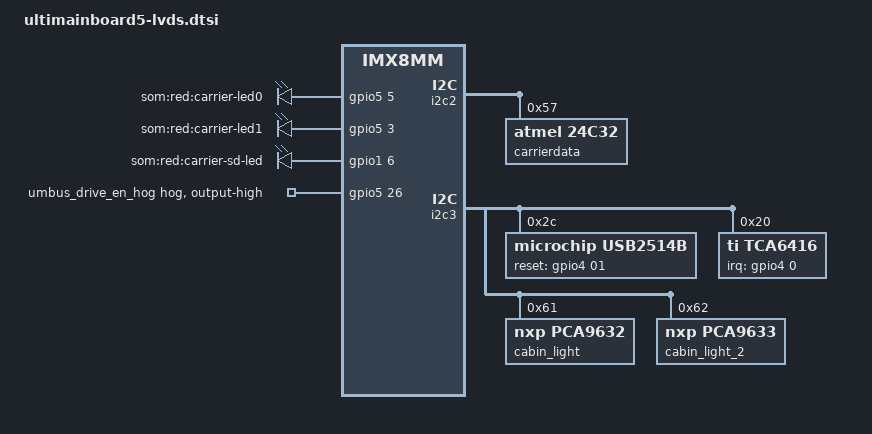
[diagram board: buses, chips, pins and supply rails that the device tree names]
/*
 * Copyright (C) 2020 - Ultimaker B.V.
 * Copyright (C) 2020 - Raymond Siudak <raysiudak@gmail.com>
*/

/dts-v1/;

#include "congatec/imx8mm-cgtsx8m-lvds.dtsi"

/* We do not use the Video Processing Units, so let's disable them.
   That prevents multiple enumeration of /dev/videoX devices for
   the camera */
&vpu_g1 {
    status = "disabled";
};

&vpu_g2 {
    status = "disabled";
};

&vpu_h1 {
    status = "disabled";
};

&vpu_v4l2 {
    status = "disabled";
};


/* Remove pins used in Ultiboard 5 from generic GPIOs pinctrl settings of imx8mm. */
&pinctrl_gpio1 {
    fsl,pins = <
        MX8MM_IOMUXC_GPIO1_IO07_GPIO1_IO7       0x140 /* GPIO0 / CSI0 PWR */
        MX8MM_IOMUXC_GPIO1_IO15_GPIO1_IO15      0x140 /* TEST# */
        MX8MM_IOMUXC_SAI1_RXD0_GPIO4_IO2		0x140 /* GPIO12 */
		MX8MM_IOMUXC_SAI1_RXD1_GPIO4_IO3		0x140 /* GPIO13 */        
    >;
};

&pinctrl_gpio4 {
    fsl,pins = <
        MX8MM_IOMUXC_SAI3_RXC_GPIO4_IO29        0x080 /* GPIO4 / SAFETY_ENABLED (input) */
        MX8MM_IOMUXC_SAI3_RXFS_GPIO4_IO28       0x080 /* GPIO6 / SOM_BOOT (IMXRT BootMode Enable) */
        MX8MM_IOMUXC_SAI1_RXC_GPIO4_IO1         0x140 /* GPIO7 / USB RESET_HUB# */
        MX8MM_IOMUXC_SAI1_TXC_GPIO4_IO11        0x140 /* GPIO9 */
        MX8MM_IOMUXC_SAI1_TXFS_GPIO4_IO10       0x100 /* GPIO10 / U12 EEPROM WRITE PROTECT */
        MX8MM_IOMUXC_SAI1_MCLK_GPIO4_IO20       0x080 /* GPIO11 / SOM_nRST (IMXRT_nReset) */
        MX8MM_IOMUXC_SAI1_TXD3_GPIO4_IO15       0x140 /* PM_CHARGING# */
        MX8MM_IOMUXC_SAI1_TXD2_GPIO4_IO14       0x140 /* PM_CHARGER_PRSNT# */
        MX8MM_IOMUXC_SAI1_TXD4_GPIO4_IO16       0x140 /* BOOT_SEL0# */
        MX8MM_IOMUXC_SAI1_TXD5_GPIO4_IO17       0x140 /* BOOT_SEL1# */
        MX8MM_IOMUXC_SAI1_TXD6_GPIO4_IO18       0x140 /* BOOT_SEL2# */
        MX8MM_IOMUXC_SAI1_RXD5_GPIO4_IO7        0x080 /* SAI1_RXD5 -> RESET_OUT# / IMXRT nReset */
    >;
};

/* SEM-503: We need to connect the IMX8MM pad UART3_RXD and UART3_TXD to the GPIO5 controller,
   removing them from the UART1 controller. So we need to re-define these pin control groups 
   here, since it is not possible to delete a pin from a fsl,pin array */
   
&pinctrl_gpio5 {
    fsl,pins = <
        MX8MM_IOMUXC_SPDIF_RX_GPIO5_IO4         0x140 /* GPIO5 / PWMOUT */
        MX8MM_IOMUXC_UART3_RXD_GPIO5_IO26       0x140 /* SER2_RTS# - Used for UMBus Drive Enable */
        MX8MM_IOMUXC_UART3_TXD_GPIO5_IO27       0x140 /* SER2_CTS */
    >;
};

&pinctrl_uart1 {
    fsl,pins = <
        MX8MM_IOMUXC_UART1_RXD_UART1_DCE_RX	    0x140 /* Added by ticket SEM-503 */
        MX8MM_IOMUXC_UART1_TXD_UART1_DCE_TX	    0x140 /* Added by ticket SEM-503 */
    >;
};

&pinctrl_uart1_sleep {
    fsl,pins = <
        MX8MM_IOMUXC_UART1_RXD_GPIO5_IO22	    0x100 /* Added by ticket SEM-503 */
        MX8MM_IOMUXC_UART1_TXD_GPIO5_IO23	    0x100 /* Added by ticket SEM-503 */
    >;
};

    
/* Add GPIOs pinctrl for Ultboard 5. */

/* GPIO PAD setting */
/* 0x1C0 -- pull-up,   HYST, no-OD, slow, X1 */
/* 0x140 -- pull-up,   CMOS, no-OD, slow, X1 */
/* 0x100 -- pull-down, CMOS, no-OD, slow, X1 */
/* 0x080 -- pull-off,  HYST, no-OD, slow, X1 */
/* 0x000 -- pull-off,  CMOS, no-OD, slow, X1 */

&iomuxc {
    pinctrl_leds_1: ledsgrp-1 {
        fsl,pins = <
            MX8MM_IOMUXC_SPDIF_TX_GPIO5_IO3         0x100 /* GPIO1 / CSI1 PWR / Led-1 Error */
            MX8MM_IOMUXC_GPIO1_IO06_GPIO1_IO6       0x100 /* GPIO2 / CSI0 RST / SD-LED */
            MX8MM_IOMUXC_SPDIF_EXT_CLK_GPIO5_IO5    0x100 /* GPIO3 / CSI1 RST / Led-0 Kernel Heartbeat */
        >;
    };
    
    pinctrl_i2c3_tca6416: i2c3_tca6416 {
        fsl,pins = <
            MX8MM_IOMUXC_SAI1_RXFS_GPIO4_IO0        0x080 /* GPIO8 / U35 - TCA6416 INT */  
        >;
    };
};

&i2c2 {
    /* Carrier data EEPROM (U12) */
    carrierdata@57 {
        compatible = "atmel,24c32";
        reg = <0x57>;
        pagesize = <32>;
    };
};

&i2c3 {
/* CES-3178: The S6 camera appears to have power-up issues when the board is powered on with the camera connected.
   This was addressed in hardware (see ELS-458), but it introduced a worse side effect: the S8 camera now causes
   the i.MX8 USB Host Controller to freeze during boot (see ELS-462).

   The root cause appears to be the time the S8 camera takes to power up. The Microchip USB2514B hub, when operating
   in standalone mode (not configured via I2C), uses a default POWER-ON TIME of 100 ms. This is the delay the hub
   waits before attempting to enumerate devices after enabling power to the port via the PRTPWR pins. For the S8 camera,
   100 ms does not seem sufficient for it to be fully ready for enumeration, leading to failures.

   Connecting the USB2514B to the I2C bus and increasing the POWER-ON TIME to 110 ms resolves the issue. In this configuration,
   we set it to 200 ms to be on the safe side.
*/
   
    usb2514b@2c {
        compatible = "microchip,usb2514b";
        reg = <0x2c>;
        reset-gpios = <&gpio4 01 GPIO_ACTIVE_HIGH>;
        self-powered;
        individual-sensing;
        individual-port-switching;
        power-on-time-ms = <200>;
    };
    
    tca6416@20 {
        compatible = "ti,tca6416";
        reg = <0x20>;
        pinctrl-names = "default";
        pinctrl-0 = <&pinctrl_i2c3_tca6416>;
        interrupt-parent = <&gpio4>;
        interrupts = <0 IRQ_TYPE_LEVEL_LOW>;
        gpio-controller;
        #gpio-cells = <2>;
        gpio-line-names = "VCC5_EXT_EN", "VCC5_EXT_OK", "VCC5_FAN_EN", "VCC5_FAN_OK", 
                          "HDMI_PWR_EN", "HDMI_PWR_OK", "VCC5_PH_EN", "VCC5_PH_OK", 
                          "VCC24_HP_PG", "VCC24_MOT_PG", "LVDS_PWR_EN", "LVDS_PWR_OK", 
                          "SAFETY_BTN_STATUS", "SAFETY_RESET", "VCC24_PH_EN", "VCC24_MOT_EN";
    };
    
    cabin_light: pca9632@61 {
        compatible = "nxp,pca9632";
        #address-cells = <1>;
        #size-cells = <0>;
        reg = <0x61>;
        nxp,totem-pole;
        nxp,inverted-out;
        nxp,hw-blink;
        white4@0 {
            label = "white4:cabin_light";
            reg = <0>;
            linux,default-trigger = "default-on";
        };
        white3@1 {
            label = "white3:cabin_light";
            reg = <1>;
            linux,default-trigger = "default-on";
        };
        white2@2 {
            label = "white2:cabin_light";
            reg = <2>;
            linux,default-trigger = "default-on";
        };
        white@3 {
            label = "white:cabin_light";
            reg = <3>;
            linux,default-trigger = "default-on";
        };
    };

    cabin_light_2: pca9633@62 {
        compatible = "nxp,pca9633";
        #address-cells = <1>;
        #size-cells = <0>;
        reg = <0x62>;
        nxp,totem-pole;
        nxp,inverted-out;
        nxp,hw-blink;
        white4@0 {
            label = "white4:cabin_light";
            reg = <0>;
            linux,default-trigger = "default-on";
        };
        white3@1 {
            label = "white3:cabin_light";
            reg = <1>;
            linux,default-trigger = "default-on";
        };
        white2@2 {
            label = "white2:cabin_light";
            reg = <2>;
            linux,default-trigger = "default-on";
        };
        white@3 {
            label = "white:cabin_light";
            reg = <3>;
            linux,default-trigger = "default-on";
        };
    };
};

/* Set pin names for IMXRT control lines */
&gpio4 {
    gpio-line-names = "TCA6416A_nINT", "USB2514B_Reset", "", "", "", "", "", "RESET_OUT", 
                      "", "", "", "", "", "", "", "", 
                      "", "", "", "", "IMXRT_nReset", "", "", "", 
                      "", "", "", "", "IMXRT_BootMode_En", "SAFETY_ENABLED", "", "";
};

&gpio5 {

/* SEM-503: The IMX8MM UART3_RXD pad (SMARC P138) is connected to the UMBus Drive Enable pin. It should be connected to VCC5 in HW,
   but up to now (2025-01-22) the current ultimainboard 5 still has it connected to wired to the SoM, without any specific
   reason / purpose. So here we claim this pin as gpio-hog and set it to high level and then it cannot be changed in runtime */
   
    umbus_drive_enable_hog {
        gpio-hog;
        gpios = <26 GPIO_ACTIVE_HIGH>;
        output-high;
        line-name = "umbus_drive_en_hog";
    };
};

&uart1 {
/* SEM-503: Remove the rtscts property for the UART1 */
    /delete-property/ fsl,uart-has-rtscts;
};

/* Ultimainboard J8 debug console. We cannot use DMA, it uses proprietary firmware drivers.  */
&uart4 { /* SER1 */
    /delete-property/ dmas;
    /delete-property/ dma-names;
};

/ {
    leds {
        compatible = "gpio-leds";
        pinctrl-names = "default";
        pinctrl-0 = <&pinctrl_leds_1>;

        led0 {
            label = "som:red:carrier-led0";
            gpios = <&gpio5 5 GPIO_ACTIVE_HIGH>;
            linux,default-trigger = "heartbeat";
            default-state = "keep";
        };

        led1 {
            label = "som:red:carrier-led1";
            gpios = <&gpio5 3 GPIO_ACTIVE_HIGH>;
            linux,default-trigger = "none";
            default-state = "keep";
        };

        led2 {
            label = "som:red:carrier-sd-led";
            gpios = <&gpio1 6 GPIO_ACTIVE_HIGH>;
            linux,default-trigger = "mmc1";
            default-state = "keep";
        };
    };

    gpio-keys {
       status = "disabled";
    };
};

